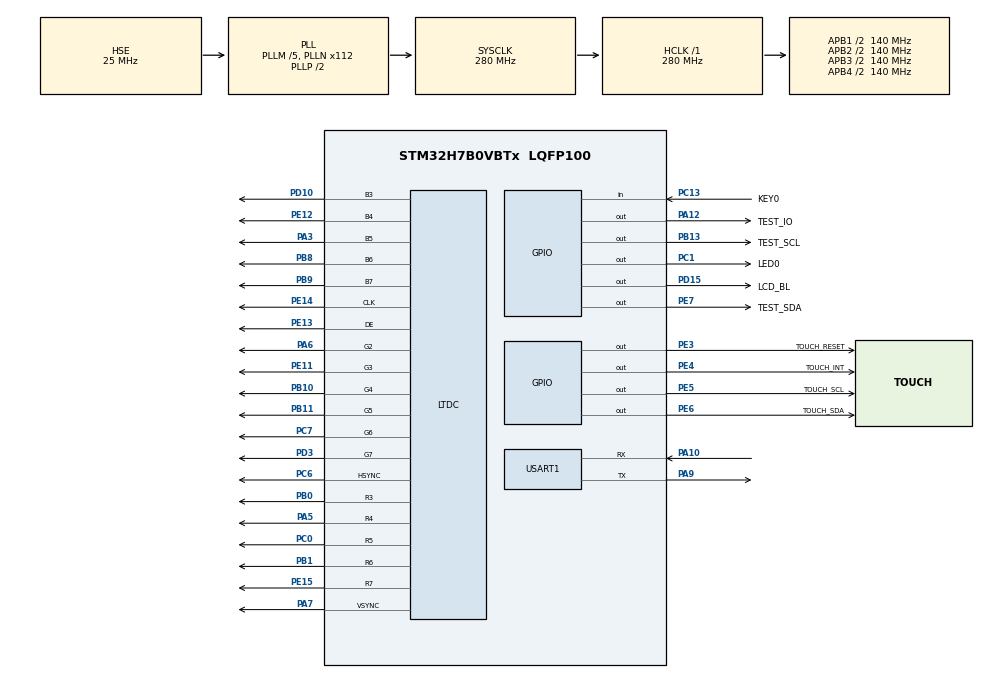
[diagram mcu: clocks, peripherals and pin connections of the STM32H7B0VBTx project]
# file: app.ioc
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CORTEX_M7.default_mode_Activation=1
DMA2D.ColorMode=DMA2D_OUTPUT_RGB565
Dma.Request0=USART1_TX
Dma.Request1=USART1_RX
Dma.USART1_RX.1.Direction=DMA_PERIPH_TO_MEMORY
Dma.USART1_RX.1.EventEnable=DISABLE
Dma.USART1_RX.1.FIFOMode=DMA_FIFOMODE_DISABLE
Dma.USART1_RX.1.Instance=DMA1_Stream1
Dma.USART1_RX.1.MemDataAlignment=DMA_MDATAALIGN_BYTE
Dma.USART1_RX.1.MemInc=DMA_MINC_ENABLE
Dma.USART1_RX.1.Mode=DMA_CIRCULAR
Dma.USART1_RX.1.PeriphDataAlignment=DMA_PDATAALIGN_BYTE
Dma.USART1_RX.1.PeriphInc=DMA_PINC_DISABLE
Dma.USART1_RX.1.Polarity=HAL_DMAMUX_REQ_GEN_RISING
Dma.USART1_RX.1.Priority=DMA_PRIORITY_LOW
Dma.USART1_RX.1.RequestNumber=1
Dma.USART1_RX.1.SignalID=NONE
Dma.USART1_RX.1.SyncEnable=DISABLE
Dma.USART1_RX.1.SyncPolarity=HAL_DMAMUX_SYNC_NO_EVENT
Dma.USART1_RX.1.SyncRequestNumber=1
Dma.USART1_RX.1.SyncSignalID=NONE
Dma.USART1_TX.0.Direction=DMA_MEMORY_TO_PERIPH
Dma.USART1_TX.0.EventEnable=DISABLE
Dma.USART1_TX.0.FIFOMode=DMA_FIFOMODE_DISABLE
Dma.USART1_TX.0.Instance=DMA1_Stream0
Dma.USART1_TX.0.MemDataAlignment=DMA_MDATAALIGN_BYTE
Dma.USART1_TX.0.MemInc=DMA_MINC_ENABLE
Dma.USART1_TX.0.Mode=DMA_NORMAL
Dma.USART1_TX.0.PeriphDataAlignment=DMA_PDATAALIGN_BYTE
Dma.USART1_TX.0.PeriphInc=DMA_PINC_DISABLE
Dma.USART1_TX.0.Polarity=HAL_DMAMUX_REQ_GEN_RISING
Dma.USART1_TX.0.Priority=DMA_PRIORITY_LOW
Dma.USART1_TX.0.RequestNumber=1
Dma.USART1_TX.0.SignalID=NONE
Dma.USART1_TX.0.SyncEnable=DISABLE
Dma.USART1_TX.0.SyncPolarity=HAL_DMAMUX_SYNC_NO_EVENT
Dma.USART1_TX.0.SyncRequestNumber=1
Dma.USART1_TX.0.SyncSignalID=NONE
LTDC.ActiveW=800
LTDC.Alpha_L0=255
LTDC.Alpha_L1=255
LTDC.FBStartAdress_L0=0x24044800
LTDC.FBStartAdress_L1=0x24040000
LTDC.HBP=88
LTDC.HFP=40
LTDC.HSync=1
LTDC.ImageHeight_L0=480
LTDC.ImageWidth_L0=800
LTDC.Layers=0
LTDC.PixelFormat_L0=LTDC_PIXEL_FORMAT_RGB565
LTDC.VBP=32
LTDC.VFP=13
LTDC.VSync=1
LTDC.WindowX1_L0=800
LTDC.WindowX1_L1=800
LTDC.WindowY1_L0=480
LTDC.WindowY1_L1=480
Mcu.Family=STM32H7
Mcu.Name=STM32H7B0VBTx
Mcu.Package=LQFP100
NVIC.DMA1_Stream0_IRQn=true\:0\:0\:false\:false\:true\:false\:true\:true
NVIC.DMA1_Stream1_IRQn=true\:0\:0\:false\:false\:true\:false\:true\:true
NVIC.DMA2D_IRQn=true\:0\:0\:false\:false\:true\:true\:true\:true
NVIC.LTDC_IRQn=true\:0\:0\:false\:false\:true\:true\:true\:true
NVIC.PriorityGroup=NVIC_PRIORITYGROUP_4
NVIC.USART1_IRQn=true\:0\:0\:false\:false\:true\:true\:true\:true
PA10.Mode=Asynchronous
PA10.Signal=USART1_RX
PA12.GPIO_Label=TEST_IO
PA12.GPIO_Speed=GPIO_SPEED_FREQ_VERY_HIGH
PA12.Signal=GPIO_Output
PA13.Mode=Serial_Wire
PA13.Signal=DEBUG_JTMS-SWDIO
PA14.Mode=Serial_Wire
PA14.Signal=DEBUG_JTCK-SWCLK
PA3.GPIO_Speed=GPIO_SPEED_FREQ_VERY_HIGH
PA3.Mode=RGB565
PA3.Signal=LTDC_B5
PA5.GPIO_Speed=GPIO_SPEED_FREQ_VERY_HIGH
PA5.Mode=RGB565
PA5.Signal=LTDC_R4
PA6.GPIO_Speed=GPIO_SPEED_FREQ_VERY_HIGH
PA6.Mode=RGB565
PA6.Signal=LTDC_G2
PA7.GPIO_Speed=GPIO_SPEED_FREQ_VERY_HIGH
PA7.Mode=RGB565
PA7.Signal=LTDC_VSYNC
PA9.Mode=Asynchronous
PA9.Signal=USART1_TX
PB0.GPIO_Speed=GPIO_SPEED_FREQ_VERY_HIGH
PB0.Mode=RGB565
PB0.Signal=LTDC_R3
PB1.GPIO_Speed=GPIO_SPEED_FREQ_VERY_HIGH
PB1.Mode=RGB565
PB1.Signal=LTDC_R6
PB10.GPIO_Speed=GPIO_SPEED_FREQ_VERY_HIGH
PB10.Mode=RGB565
PB10.Signal=LTDC_G4
PB11.GPIO_Speed=GPIO_SPEED_FREQ_VERY_HIGH
PB11.Mode=RGB565
PB11.Signal=LTDC_G5
PB13.GPIO_Label=TEST_SCL
PB13.GPIO_ModeDefaultOutputPP=GPIO_MODE_OUTPUT_OD
PB13.GPIO_PuPd=GPIO_PULLUP
PB13.GPIO_Speed=GPIO_SPEED_FREQ_VERY_HIGH
PB13.PinState=GPIO_PIN_SET
PB13.Signal=GPIO_Output
PB2.Signal=OCTOSPIM_P1_CLK
PB6.Signal=OCTOSPIM_P1_NCS
PB8.GPIO_Speed=GPIO_SPEED_FREQ_VERY_HIGH
PB8.Mode=RGB565
PB8.Signal=LTDC_B6
PB9.GPIO_Speed=GPIO_SPEED_FREQ_VERY_HIGH
PB9.Mode=RGB565
PB9.Signal=LTDC_B7
PC0.GPIO_Speed=GPIO_SPEED_FREQ_VERY_HIGH
PC0.Mode=RGB565
PC0.Signal=LTDC_R5
PC1.GPIO_Label=LED0
PC1.GPIO_Speed=GPIO_SPEED_FREQ_VERY_HIGH
PC1.PinState=GPIO_PIN_SET
PC1.Signal=GPIO_Output
PC13.GPIO_Label=KEY0
PC13.GPIO_PuPd=GPIO_PULLUP
PC13.Signal=GPIO_Input
PC6.GPIO_Speed=GPIO_SPEED_FREQ_VERY_HIGH
PC6.Mode=RGB565
PC6.Signal=LTDC_HSYNC
PC7.GPIO_Speed=GPIO_SPEED_FREQ_VERY_HIGH
PC7.Mode=RGB565
PC7.Signal=LTDC_G6
PD10.GPIO_Speed=GPIO_SPEED_FREQ_VERY_HIGH
PD10.Mode=RGB565
PD10.Signal=LTDC_B3
PD11.Signal=OCTOSPIM_P1_IO0
PD12.Signal=OCTOSPIM_P1_IO1
PD13.Signal=OCTOSPIM_P1_IO3
PD15.GPIO_Label=LCD_BL
PD15.PinState=GPIO_PIN_SET
PD15.Signal=GPIO_Output
PD3.GPIO_Speed=GPIO_SPEED_FREQ_VERY_HIGH
PD3.Mode=RGB565
PD3.Signal=LTDC_G7
PE11.GPIO_Speed=GPIO_SPEED_FREQ_VERY_HIGH
PE11.Mode=RGB565
PE11.Signal=LTDC_G3
PE12.GPIO_Speed=GPIO_SPEED_FREQ_VERY_HIGH
PE12.Mode=RGB565
PE12.Signal=LTDC_B4
PE13.GPIO_Speed=GPIO_SPEED_FREQ_VERY_HIGH
PE13.Mode=RGB565
PE13.Signal=LTDC_DE
PE14.GPIO_Speed=GPIO_SPEED_FREQ_VERY_HIGH
PE14.Mode=RGB565
PE14.Signal=LTDC_CLK
PE15.GPIO_Speed=GPIO_SPEED_FREQ_VERY_HIGH
PE15.Mode=RGB565
PE15.Signal=LTDC_R7
PE2.Signal=OCTOSPIM_P1_IO2
PE3.GPIO_Label=TOUCH_RESET
PE3.GPIO_PuPd=GPIO_PULLUP
PE3.GPIO_Speed=GPIO_SPEED_FREQ_VERY_HIGH
PE3.PinState=GPIO_PIN_SET
PE3.Signal=GPIO_Output
PE4.GPIO_Label=TOUCH_INT
PE4.GPIO_PuPd=GPIO_PULLUP
PE4.Signal=GPIO_Output
PE5.GPIO_Label=TOUCH_SCL
PE5.GPIO_ModeDefaultOutputPP=GPIO_MODE_OUTPUT_OD
PE5.GPIO_PuPd=GPIO_NOPULL
PE5.GPIO_Speed=GPIO_SPEED_FREQ_VERY_HIGH
PE5.PinState=GPIO_PIN_SET
PE5.Signal=GPIO_Output
PE6.GPIO_Label=TOUCH_SDA
PE6.GPIO_ModeDefaultOutputPP=GPIO_MODE_OUTPUT_OD
PE6.GPIO_PuPd=GPIO_NOPULL
PE6.GPIO_Speed=GPIO_SPEED_FREQ_VERY_HIGH
PE6.PinState=GPIO_PIN_SET
PE6.Signal=GPIO_Output
PE7.GPIO_Label=TEST_SDA
PE7.GPIO_ModeDefaultOutputPP=GPIO_MODE_OUTPUT_OD
PE7.GPIO_PuPd=GPIO_PULLUP
PE7.GPIO_Speed=GPIO_SPEED_FREQ_VERY_HIGH
PE7.PinState=GPIO_PIN_SET
PE7.Signal=GPIO_Output
PH0-OSC_IN.Mode=HSE-External-Oscillator
PH0-OSC_IN.Signal=RCC_OSC_IN
PH1-OSC_OUT.Mode=HSE-External-Oscillator
PH1-OSC_OUT.Signal=RCC_OSC_OUT
ProjectManager.HeapSize=0x800
ProjectManager.StackSize=0x1000
ProjectManager.TargetToolchain=CMake
RCC.ADCFreq_Value=280000000
RCC.APB1Freq_Value=140000000
RCC.APB2Freq_Value=140000000
RCC.APB3Freq_Value=140000000
RCC.APB4Freq_Value=140000000
RCC.CDPPRE=RCC_APB3_DIV2
RCC.CDPPRE1=RCC_APB1_DIV2
RCC.CDPPRE2=RCC_APB2_DIV2
RCC.CortexFreq_Value=280000000
RCC.DIVM1=5
RCC.DIVM2=5
RCC.DIVM3=25
RCC.DIVN1=112
RCC.DIVN2=112
RCC.DIVN3=300
RCC.DIVR3=6
RCC.HCLKFreq_Value=280000000
RCC.HSE_VALUE=25000000
RCC.PLL3FRACN=0
RCC.PLLSourceVirtual=RCC_PLLSOURCE_HSE
RCC.SRDPPRE=RCC_APB4_DIV2
RCC.SYSCLKFreq_VALUE=280000000
RCC.SYSCLKSource=RCC_SYSCLKSOURCE_PLLCLK
RCC.USBFreq_Value=280000000
USART1.VirtualMode-Asynchronous=VM_ASYNC
VP_DMA2D_VS_DMA2D.Mode=DMA2D_Activate
VP_MEMORYMAP_VS_MEMORYMAP.Mode=CurAppReg
board=custom

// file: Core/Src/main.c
/* USER CODE BEGIN Header */
/**
  ******************************************************************************
  * @file           : main.c
  * @brief          : Main program body
  ******************************************************************************
  * @attention
  *
  * Copyright (c) 2026 STMicroelectronics.
  * All rights reserved.
  *
  * This software is licensed under terms that can be found in the LICENSE file
  * in the root directory of this software component.
  * If no LICENSE file comes with this software, it is provided AS-IS.
  *
  ******************************************************************************
  */
/* USER CODE END Header */
#include "main.h"
#include "dma.h"
#include "dma2d.h"
#include "ltdc.h"
#include "usart.h"
#include "gpio.h"

/* USER CODE BEGIN Includes */
#include "async_uart.h"
#include "key.h"
#include <math.h>
#include <stdint.h>
#include "io_i2c.h"
#include "GT9xx_touch.h"

/* ARM 2D */
#include "perf_counter.h"
#include "arm_2d_helper.h"
#include "arm_2d_disp_adapters.h"
#include "arm_2d_example_controls.h"
#include "arm_2d.h"
/* USER CODE END Includes */

/* USER CODE BEGIN PV */
extern async_uart_instance_t uart1;
__attribute__((section(".sram_noncache_bss"))) uint8_t uart1_rx_buf[256];
float disp0_task_usage;

/* USER CODE END PV */

void SystemClock_Config(void);
static void MPU_Config(void);
/* USER CODE BEGIN PFP */
void User_MPU_Config(void);
/* USER CODE END PFP */

/* USER CODE BEGIN 0 */
bool check_dwt_enabled(void)
{
    // 检查 Debug Exception and Monitor Control Register
    uint32_t demcr = CoreDebug->DEMCR;
    bool debug_enabled = (demcr & CoreDebug_DEMCR_TRCENA_Msk) != 0;

    // 检查 DWT Control Register
    uint32_t dwt_ctrl = DWT->CTRL;
    bool dwt_enabled = (dwt_ctrl & DWT_CTRL_CYCCNTENA_Msk) != 0;

    // printf("DEMCR: 0x%08lX (TRCENA=%s)\r\n",
    //        demcr, debug_enabled ? "ON" : "OFF");
    // printf("DWT_CTRL: 0x%08lX (CYCCNTENA=%s)\r\n",
    //        dwt_ctrl, dwt_enabled ? "ON" : "OFF");

    return debug_enabled && dwt_enabled;
}

void enable_dwt(void)
{
    // 启用 Debug Exception and Monitor Control Register
    CoreDebug->DEMCR |= CoreDebug_DEMCR_TRCENA_Msk;

    // 启用 DWT cycle counter
    DWT->CTRL |= DWT_CTRL_CYCCNTENA_Msk;

    // 重置计数器
    DWT->CYCCNT = 0;

    // printf("DWT enabled\r\n");
}
/* USER CODE END 0 */

int main(void)
{

  /* USER CODE BEGIN 1 */
  volatile uint32_t start_tick = 0;
  arm_fsm_rt_t tResult;
  (void)tResult;
#if 0 // Remove defult MPU configuration
  /* USER CODE END 1 */

  /* MPU Configuration--------------------------------------------------------*/
  MPU_Config();

  /* MCU Configuration--------------------------------------------------------*/

  /* Reset of all peripherals, Initializes the Flash interface and the Systick. */
  HAL_Init();

  /* USER CODE BEGIN Init */
#endif
  // __BKPT(0);
  User_MPU_Config();
  SCB_EnableICache();		// ICache enable
	SCB_EnableDCache();		// DCache enable
  HAL_Init();
  /* USER CODE END Init */

  /* Configure the system clock */
  SystemClock_Config();

  /* USER CODE BEGIN SysInit */
  HAL_Delay(100);
  /* USER CODE END SysInit */

  /* Initialize all configured peripherals */
  MX_GPIO_Init();
  MX_DMA_Init();
  MX_USART1_UART_Init();
  MX_LTDC_Init();
  MX_DMA2D_Init();
  /* USER CODE BEGIN 2 */
  // DMA2D_fill_screen();
  // DMA2D_Test();
  // while(1);

  KeyInit();

  async_uart_init();    // send use sofeware ring buffer

  HAL_UARTEx_ReceiveToIdle_DMA(&huart1, uart1_rx_buf, 256);

  async_usart_printf(&uart1, "\r\n\r\n\r\nApplication Start...\r\n");
  async_usart_printf(&uart1, "Compiled at %s %s\r\n", __DATE__, __TIME__);
  async_usart_printf(&uart1, "System Core Clock: %lu Hz\r\n", HAL_RCC_GetSysClockFreq());
  async_usart_printf(&uart1, "PCLK1 Frequency: %lu Hz\r\n", HAL_RCC_GetPCLK1Freq());

  // async_usart_printf(&uart1, "Turn LCD Backlight!\r\n");
  HAL_GPIO_WritePin(LCD_BL_GPIO_Port, LCD_BL_Pin, GPIO_PIN_SET);

  // DMA2D_fill_screen();

  io_i2c_init();
  GT9XX_Touch_Init();

  /* ARM 2D*/
  if(check_dwt_enabled() ==  false)
  {
    enable_dwt();
  }
  perfc_init(true);
  arm_irq_safe
  {
    arm_2d_init();
  }

  /* initialize the display adapter 0 service */
  disp_adapter0_init();

  /* USER CODE END 2 */

  /* Infinite loop */
  /* USER CODE BEGIN WHILE */
  start_tick = HAL_GetTick();
  while (1)
  {
    /* USER CODE END WHILE */

    /* USER CODE BEGIN 3 */
    io_i2c_loop_task();
    GT911_LoopTask();

    // __cpu_usage__(10,
    //   {disp0_task_usage = __usage__;}
    // )
    {
      tResult = disp_adapter0_task();
    }

    /* 调用2次提升触摸响应 */
    io_i2c_loop_task();
    GT911_LoopTask();

    vKeySacnTask();
    KeyFunctionTest();

    if(HAL_GetTick() - start_tick >= 500)
    {
      HAL_GPIO_TogglePin(LED0_GPIO_Port, LED0_Pin);
      HAL_GPIO_TogglePin(TEST_IO_GPIO_Port, TEST_IO_Pin);
      start_tick = HAL_GetTick();
    }
  }
  /* USER CODE END 3 */
}

void SystemClock_Config(void)
{
  RCC_OscInitTypeDef RCC_OscInitStruct = {0};
  RCC_ClkInitTypeDef RCC_ClkInitStruct = {0};

  /*AXI clock gating */
  RCC->CKGAENR = 0xE003FFFF;

  /** Supply configuration update enable
  */
  HAL_PWREx_ConfigSupply(PWR_LDO_SUPPLY);

  /** Configure the main internal regulator output voltage
  */
  __HAL_PWR_VOLTAGESCALING_CONFIG(PWR_REGULATOR_VOLTAGE_SCALE0);

  while(!__HAL_PWR_GET_FLAG(PWR_FLAG_VOSRDY)) {}

  /** Initializes the RCC Oscillators according to the specified parameters
  * in the RCC_OscInitTypeDef structure.
  */
  RCC_OscInitStruct.OscillatorType = RCC_OSCILLATORTYPE_HSE;
  RCC_OscInitStruct.HSEState = RCC_HSE_ON;
  RCC_OscInitStruct.PLL.PLLState = RCC_PLL_ON;
  RCC_OscInitStruct.PLL.PLLSource = RCC_PLLSOURCE_HSE;
  RCC_OscInitStruct.PLL.PLLM = 5;
  RCC_OscInitStruct.PLL.PLLN = 112;
  RCC_OscInitStruct.PLL.PLLP = 2;
  RCC_OscInitStruct.PLL.PLLQ = 2;
  RCC_OscInitStruct.PLL.PLLR = 2;
  RCC_OscInitStruct.PLL.PLLRGE = RCC_PLL1VCIRANGE_2;
  RCC_OscInitStruct.PLL.PLLVCOSEL = RCC_PLL1VCOWIDE;
  RCC_OscInitStruct.PLL.PLLFRACN = 0;
  if (HAL_RCC_OscConfig(&RCC_OscInitStruct) != HAL_OK)
  {
    Error_Handler();
  }

  /** Initializes the CPU, AHB and APB buses clocks
  */
  RCC_ClkInitStruct.ClockType = RCC_CLOCKTYPE_HCLK|RCC_CLOCKTYPE_SYSCLK
                              |RCC_CLOCKTYPE_PCLK1|RCC_CLOCKTYPE_PCLK2
                              |RCC_CLOCKTYPE_D3PCLK1|RCC_CLOCKTYPE_D1PCLK1;
  RCC_ClkInitStruct.SYSCLKSource = RCC_SYSCLKSOURCE_PLLCLK;
  RCC_ClkInitStruct.SYSCLKDivider = RCC_SYSCLK_DIV1;
  RCC_ClkInitStruct.AHBCLKDivider = RCC_HCLK_DIV1;
  RCC_ClkInitStruct.APB3CLKDivider = RCC_APB3_DIV2;
  RCC_ClkInitStruct.APB1CLKDivider = RCC_APB1_DIV2;
  RCC_ClkInitStruct.APB2CLKDivider = RCC_APB2_DIV2;
  RCC_ClkInitStruct.APB4CLKDivider = RCC_APB4_DIV2;

  if (HAL_RCC_ClockConfig(&RCC_ClkInitStruct, FLASH_LATENCY_6) != HAL_OK)
  {
    Error_Handler();
  }
}

/* USER CODE BEGIN 4 */
void User_MPU_Config(void)
{
  MPU_Region_InitTypeDef MPU_InitStruct = {0};

  /* Disables the MPU */
  HAL_MPU_Disable();

  MPU_InitStruct.Enable = MPU_REGION_ENABLE;
  MPU_InitStruct.TypeExtField = MPU_TEX_LEVEL0;
  MPU_InitStruct.AccessPermission = MPU_REGION_FULL_ACCESS;
  MPU_InitStruct.DisableExec = MPU_INSTRUCTION_ACCESS_ENABLE;
  MPU_InitStruct.IsShareable = MPU_ACCESS_NOT_SHAREABLE;

  /* RAM_NOCACHE [0x24000000, 0x2403FFFF] 256KB */
  MPU_InitStruct.Number = MPU_REGION_NUMBER0;
  MPU_InitStruct.BaseAddress = 0x24000000;
  MPU_InitStruct.Size = MPU_REGION_SIZE_256KB;
  MPU_InitStruct.SubRegionDisable = 0x00;
  MPU_InitStruct.IsCacheable = MPU_ACCESS_NOT_CACHEABLE;
  MPU_InitStruct.IsBufferable = MPU_ACCESS_NOT_BUFFERABLE;
  HAL_MPU_ConfigRegion(&MPU_InitStruct);

  /* RAM_NOCACHE [0x24040000, 0x24043FFF] 16KB */
  MPU_InitStruct.Number = MPU_REGION_NUMBER1;
  MPU_InitStruct.BaseAddress = 0x24040000;
  MPU_InitStruct.Size = MPU_REGION_SIZE_16KB;
  MPU_InitStruct.SubRegionDisable = 0x00;
  MPU_InitStruct.IsCacheable = MPU_ACCESS_NOT_CACHEABLE;
  MPU_InitStruct.IsBufferable = MPU_ACCESS_NOT_BUFFERABLE;
  HAL_MPU_ConfigRegion(&MPU_InitStruct);

  /* RAM_NOCACHE [0x24044000, 0x240447FF] 2KB */
  MPU_InitStruct.Number = MPU_REGION_NUMBER2;
  MPU_InitStruct.BaseAddress = 0x24044000;
  MPU_InitStruct.Size = MPU_REGION_SIZE_2KB;
  MPU_InitStruct.SubRegionDisable = 0x00;
  MPU_InitStruct.IsCacheable = MPU_ACCESS_NOT_CACHEABLE;
  MPU_InitStruct.IsBufferable = MPU_ACCESS_NOT_BUFFERABLE;
  HAL_MPU_ConfigRegion(&MPU_InitStruct);

  /* GRAM [0x24044800, 0x24047FFF] 14KB (16KB region with first 2KB disabled) */
  MPU_InitStruct.Number = MPU_REGION_NUMBER3;
  MPU_InitStruct.BaseAddress = 0x24044000;
  MPU_InitStruct.Size = MPU_REGION_SIZE_16KB;
  MPU_InitStruct.SubRegionDisable = 0x01;
  MPU_InitStruct.IsCacheable = MPU_ACCESS_CACHEABLE;
  MPU_InitStruct.IsBufferable = MPU_ACCESS_NOT_BUFFERABLE;
  HAL_MPU_ConfigRegion(&MPU_InitStruct);

  /* GRAM [0x24048000, 0x2404FFFF] 32KB */
  MPU_InitStruct.Number = MPU_REGION_NUMBER4;
  MPU_InitStruct.BaseAddress = 0x24048000;
  MPU_InitStruct.Size = MPU_REGION_SIZE_32KB;
  MPU_InitStruct.SubRegionDisable = 0x00;
  MPU_InitStruct.IsCacheable = MPU_ACCESS_CACHEABLE;
  MPU_InitStruct.IsBufferable = MPU_ACCESS_NOT_BUFFERABLE;
  HAL_MPU_ConfigRegion(&MPU_InitStruct);

  /* GRAM [0x24050000, 0x2405FFFF] 64KB */
  MPU_InitStruct.Number = MPU_REGION_NUMBER5;
  MPU_InitStruct.BaseAddress = 0x24050000;
  MPU_InitStruct.Size = MPU_REGION_SIZE_64KB;
  MPU_InitStruct.SubRegionDisable = 0x00;
  MPU_InitStruct.IsCacheable = MPU_ACCESS_CACHEABLE;
  MPU_InitStruct.IsBufferable = MPU_ACCESS_NOT_BUFFERABLE;
  HAL_MPU_ConfigRegion(&MPU_InitStruct);

  /* GRAM [0x24060000, 0x2407FFFF] 128KB */
  MPU_InitStruct.Number = MPU_REGION_NUMBER6;
  MPU_InitStruct.BaseAddress = 0x24060000;
  MPU_InitStruct.Size = MPU_REGION_SIZE_128KB;
  MPU_InitStruct.SubRegionDisable = 0x00;
  MPU_InitStruct.IsCacheable = MPU_ACCESS_CACHEABLE;
  MPU_InitStruct.IsBufferable = MPU_ACCESS_NOT_BUFFERABLE;
  HAL_MPU_ConfigRegion(&MPU_InitStruct);

  /* GRAM [0x24080000, 0x240FFFFF] 512KB */
  MPU_InitStruct.Number = MPU_REGION_NUMBER7;
  MPU_InitStruct.BaseAddress = 0x24080000;
  MPU_InitStruct.Size = MPU_REGION_SIZE_512KB;
  MPU_InitStruct.SubRegionDisable = 0x00;
  MPU_InitStruct.IsCacheable = MPU_ACCESS_CACHEABLE;
  MPU_InitStruct.IsBufferable = MPU_ACCESS_NOT_BUFFERABLE;
  HAL_MPU_ConfigRegion(&MPU_InitStruct);

  /* Enables the MPU */
  HAL_MPU_Enable(MPU_PRIVILEGED_DEFAULT);
}

uint32_t user_systick_reload_get(void)
{
  return SysTick->LOAD;
}
uint32_t user_systick_value_get(void)
{
  return SysTick->VAL;
  // return HAL_GetTick();
}

uint32_t user_get_system_core_clk(void)
{
  return SystemCoreClock;
}
/* USER CODE END 4 */

 /* MPU Configuration */

void MPU_Config(void)
{
  MPU_Region_InitTypeDef MPU_InitStruct = {0};

  /* Disables the MPU */
  HAL_MPU_Disable();

  /** Initializes and configures the Region and the memory to be protected
  */
  MPU_InitStruct.Enable = MPU_REGION_ENABLE;
  MPU_InitStruct.Number = MPU_REGION_NUMBER0;
  MPU_InitStruct.BaseAddress = 0x0;
  MPU_InitStruct.Size = MPU_REGION_SIZE_4GB;
  MPU_InitStruct.SubRegionDisable = 0x87;
  MPU_InitStruct.TypeExtField = MPU_TEX_LEVEL0;
  MPU_InitStruct.AccessPermission = MPU_REGION_NO_ACCESS;
  MPU_InitStruct.DisableExec = MPU_INSTRUCTION_ACCESS_DISABLE;
  MPU_InitStruct.IsShareable = MPU_ACCESS_SHAREABLE;
  MPU_InitStruct.IsCacheable = MPU_ACCESS_NOT_CACHEABLE;
  MPU_InitStruct.IsBufferable = MPU_ACCESS_NOT_BUFFERABLE;

  HAL_MPU_ConfigRegion(&MPU_InitStruct);
  /* Enables the MPU */
  HAL_MPU_Enable(MPU_PRIVILEGED_DEFAULT);

}

void Error_Handler(void)
{
  /* USER CODE BEGIN Error_Handler_Debug */
  /* User can add his own implementation to report the HAL error return state */
  __disable_irq();
  while (1)
  {
    __BKPT(0);
		while (1);
  }
  /* USER CODE END Error_Handler_Debug */
}
